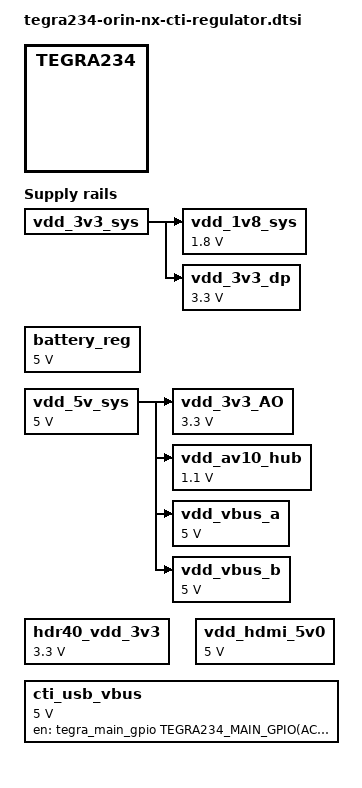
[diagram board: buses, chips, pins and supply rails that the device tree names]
/*
 * Copyright (c) 2022, Connect Tech Inc.  All rights reserved.
 *
 * This program is free software; you can redistribute it and/or modify it
 * under the terms and conditions of the GNU General Public License,
 * version 2, as published by the Free Software Foundation.
 *
 * This program is distributed in the hope it will be useful, but WITHOUT
 * ANY WARRANTY; without even the implied warranty of MERCHANTABILITY or
 * FITNESS FOR A PARTICULAR PURPOSE.  See the GNU General Public License for
 * more details.
 *
 * You should have received a copy of the GNU General Public License
 * along with this program.  If not, see <http://www.gnu.org/licenses/>.
 */

#include <dt-bindings/gpio/tegra234-gpio.h>
/ {
	fixed-regulators {
        battery_reg: regulator@0 {
               compatible = "regulator-fixed";
               reg = <0>;
               regulator-name = "vdd-ac-bat";
               regulator-min-microvolt = <5000000>;
               regulator-max-microvolt = <5000000>;
               regulator-always-on;
         };
	vdd_5v_sys: regulator@100 {
            /* Enable is automatic with DC_IN */
            compatible = "regulator-fixed";
            reg = <100>;
            regulator-name = "vdd-5v-sys";
            regulator-min-microvolt = <5000000>;
            regulator-max-microvolt = <5000000>;
            regulator-always-on;
        };
        hdr40_vdd_3v3: vdd_3v3_sys: regulator@101 {
            /* BUCK_3V3_EN enable is driven by button MCU */
            compatible = "regulator-fixed";
            reg = <101>;
            regulator-name = "vdd-3v3-sys";
            regulator-min-microvolt = <3300000>;
            regulator-max-microvolt = <3300000>;
            regulator-always-on;
        };
        vdd_1v8_sys: regulator@102 {
            /* BUCK_3V3_PG enable is driven by vdd_3v3_sys */
            compatible = "regulator-fixed";
            reg = <102>;
            regulator-name = "vdd-1v8";
            regulator-min-microvolt = <1800000>;
            regulator-max-microvolt = <1800000>;
            vin-supply = <&vdd_3v3_sys>;
            regulator-always-on;
        };
        vdd_3v3_AO: regulator@103 {
            /* BUCK_5V_PG enable is driven by 5v_sys */
            compatible = "regulator-fixed";
            reg = <103>;
            regulator-name = "vdd-3v3-AO";
            regulator-min-microvolt = <3300000>;
            regulator-max-microvolt = <3300000>;
            vin-supply = <&vdd_5v_sys>;
            regulator-always-on;
        };
        vdd_av10_hub: regulator@104 {
            /* BUCK_3V3_PG enable is driven 3v3_sys */
            compatible = "regulator-fixed";
            reg = <104>;
            regulator-name = "vdd-av10-hub";
            regulator-min-microvolt = <1100000>;
            regulator-max-microvolt = <1100000>;
            vin-supply = <&vdd_5v_sys>;
            regulator-always-on;
        };
        vdd_vbus_a: regulator@105 {
            /* HUB_DSP12_PWR_EN enable is driven usb hub's gpio */
            compatible = "regulator-fixed";
            reg = <105>;
            regulator-name = "vdd-vbus-a";
            regulator-min-microvolt = <5000000>;
            regulator-max-microvolt = <5000000>;
            vin-supply = <&vdd_5v_sys>;
            regulator-always-on;
        };
        vdd_vbus_b: regulator@106 {
            /* HUB_DSP34_PWR_EN enable is driven usb hub's gpio */
            compatible = "regulator-fixed";
            reg = <106>;
            regulator-name = "vdd-vbus-b";
            regulator-min-microvolt = <5000000>;
            regulator-max-microvolt = <5000000>;
            vin-supply = <&vdd_5v_sys>;
            regulator-always-on;
        };
        vdd_hdmi_5v0: regulator@107 {
            /* SOC_PWR_REQ->MOD_SLEEP->VDD_3V3_HDMI->VDD_5V0_HDMI_CN */
            compatible = "regulator-fixed";
            reg = <107>;
            regulator-name = "vdd-hdmi-5v0";
            regulator-min-microvolt = <5000000>;
            regulator-max-microvolt = <5000000>;
            regulator-always-on;
        };
        vdd_3v3_dp: regulator@108 {
            /* BUCK_3V3_PG enable is driven 3v3_sys */
            compatible = "regulator-fixed";
            reg = <108>;
            regulator-name = "vdd-3v3-dp";
            regulator-min-microvolt = <3300000>;
            regulator-max-microvolt = <3300000>;
            vin-supply = <&vdd_3v3_sys>;
            regulator-always-on;
        };
        cti_usb_vbus: regulator@200 {
            compatible = "regulator-fixed";
            reg = <200>;
            status = "okay";
            regulator-name = "cti-usb-vbus";
            regulator-min-microvolt = <5000000>;
            regulator-max-microvolt = <5000000>;
            gpio = <&tegra_main_gpio TEGRA234_MAIN_GPIO(AC, 6) GPIO_ACTIVE_HIGH>;
            enable-active-high;
            //regulator-boot-on;
            regulator-always-on;
        };

	};
};
